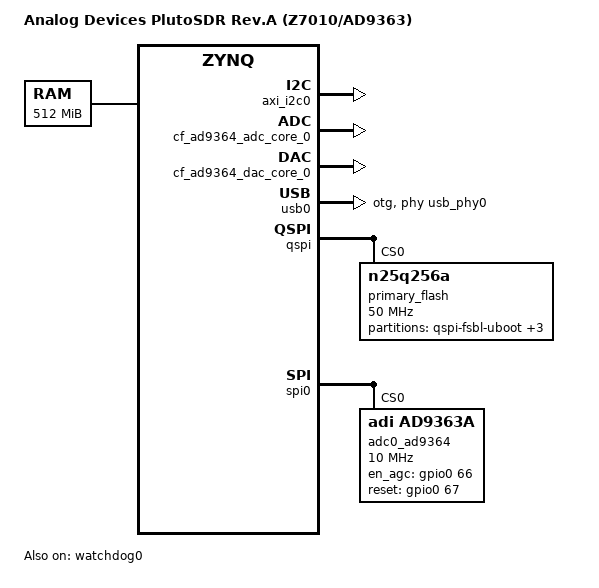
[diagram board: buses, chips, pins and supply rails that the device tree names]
/*
 * ZYNQ Pluto SDR (Z7010/AD9363)
 *
 * Copyright (C) 2016 Analog Devices Inc.
 *
 * Licensed under the GPL-2.
 */
#include "zynq.dtsi"

#include <dt-bindings/interrupt-controller/irq.h>

/ {
	model = "Analog Devices PlutoSDR Rev.A (Z7010/AD9363)";
	memory {
		device_type = "memory";
		reg = <0x00000000 0x20000000>;
	};

	chosen {
		stdout-path = "/amba@0/uart@E0001000";
	};

	clocks {
		ad9364_clkin: clock@0 {
			#clock-cells = <0>;
			compatible = "adjustable-clock";
			clock-frequency = <40000000>;
			clock-accuracy = <200000>; /* 200 ppm (ppb) */
			clock-output-names = "ad9364_ext_refclk";
		};
	};

	usb_phy0: phy0 {
		compatible = "ulpi-phy";
		#phy-cells = <0>;
		reg = <0xe0002000 0x1000>;
		view-port = <0x0170>;
		drv-vbus;
	};

};

&sdhci0 {
	status = "disabled";
};

&watchdog0 {
	status = "okay";
	reset-on-timeout;
};

&usb0 {
	xlnx,phy-reset-gpio = <&gpio0 52 0>;
	dr_mode = "otg";
	status = "okay";
	usb-phy = <&usb_phy0>;
};

&qspi {
	status = "okay";
	is-dual = <0>;
	num-cs = <1>;
	primary_flash: ps7-qspi@0 {
		#address-cells = <1>;
		#size-cells = <1>;
		spi-tx-bus-width = <1>;
		spi-rx-bus-width = <4>;
		compatible = "n25q256a", "n25q512a", "jedec,spi-nor"; /* same as S25FL256 */
		reg = <0x0>;
		spi-max-frequency = <50000000>;
		partition@qspi-fsbl-uboot {
			label = "qspi-fsbl-uboot";
			reg = <0x0 0x100000>; /* 1M */
		};
		partition@qspi-uboot-env {
			label = "qspi-uboot-env";
			reg = <0x100000 0x20000>; /* 128k */
		};
		partition@qspi-nvmfs {
			label = "qspi-nvmfs";
			reg = <0x120000 0xE0000>; /* 1M */
		};
		partition@qspi-linux {
			label = "qspi-linux";
			reg = <0x200000 0x1E00000>; /* 30M */
		};
	};
};

&adc {
	xlnx,channels {
		#address-cells = <1>;
		#size-cells = <0>;
		channel@0 {
			reg = <0>;
		};
	};
};

/ {
	fpga_axi: fpga-axi@0 {
		compatible = "simple-bus";
		#address-cells = <0x1>;
		#size-cells = <0x1>;
		ranges;

		axi_i2c0: i2c@41600000 {
			compatible = "xlnx,axi-iic-1.02.a", "xlnx,xps-iic-2.00.a";
			reg = <0x41600000 0x10000>;
			interrupt-parent = <&intc>;
			interrupts = <0 59 IRQ_TYPE_LEVEL_HIGH>;
			clocks = <&clkc 15>;
			clock-names = "pclk";

			#address-cells = <1>;
			#size-cells = <0>;

		};

		rx_dma: dma@7c400000 {
			compatible = "adi,axi-dmac-1.00.a";
			reg = <0x7c400000 0x10000>;
			#dma-cells = <1>;
			interrupts = <0 57 IRQ_TYPE_LEVEL_HIGH>;
			clocks = <&clkc 16>;

			adi,channels {
				#size-cells = <0>;
				#address-cells = <1>;

				dma-channel@0 {
					reg = <0>;
					adi,source-bus-width = <32>;
					adi,source-bus-type = <2>;
					adi,destination-bus-width = <64>;
					adi,destination-bus-type = <0>;
				};
			};
		};

		tx_dma: dma@7c420000 {
			compatible = "adi,axi-dmac-1.00.a";
			reg = <0x7c420000 0x10000>;
			#dma-cells = <1>;
			interrupts = <0 56 IRQ_TYPE_LEVEL_HIGH>;
			clocks = <&clkc 16>;

			adi,channels {
				#size-cells = <0>;
				#address-cells = <1>;

				dma-channel@0 {
					reg = <0>;
					adi,source-bus-width = <64>;
					adi,source-bus-type = <0>;
					adi,destination-bus-width = <32>;
					adi,destination-bus-type = <2>;
				};
			};
		};

		cf_ad9364_adc_core_0: cf-ad9361-lpc@79020000 {
			compatible = "adi,axi-ad9361-6.00.a";
			reg = <0x79020000 0x6000>;
			dmas = <&rx_dma 0>;
			dma-names = "rx";
			spibus-connected = <&adc0_ad9364>;
			adi,axi-decimation-core-available;
		};

		cf_ad9364_dac_core_0: cf-ad9361-dds-core-lpc@79024000 {
			compatible = "adi,axi-ad9364-dds-6.00.a";
			reg = <0x79024000 0x1000>;
			clocks = <&adc0_ad9364 13>;
			clock-names = "sampl_clk";
			dmas = <&tx_dma 0>;
			dma-names = "tx";
			adi,axi-interpolation-core-available;
			adi,axi-dds-default-scale = <0>;
		};

		mwipcore@43c00000 {
			compatible = "mathworks,mwipcore-axi4lite-v1.00";
			reg = <0x43c00000 0xffff>;
		};
	};
};

&spi0 {
	status = "okay";

	adc0_ad9364: ad9361-phy@0 {
		#address-cells = <1>;
		#size-cells = <0>;
		#clock-cells = <1>;
		compatible = "adi,ad9363a";

		/* SPI Setup */
		reg = <0>;
		spi-cpha;
		spi-max-frequency = <10000000>;

		/* Clocks */
		clocks = <&ad9364_clkin 0>;
		clock-names = "ad9364_ext_refclk";
		clock-output-names = "rx_sampl_clk", "tx_sampl_clk";

		/* Digital Interface Control */

		 /* adi,digital-interface-tune-skip-mode:
		  * 0 = TUNE RX&TX
		  * 1 = SKIP TX
		  * 2 = SKIP ALL
		  */
		//adi,digital-interface-tune-skip-mode = <0>;

		adi,pp-tx-swap-enable;
		adi,pp-rx-swap-enable;
		adi,rx-frame-pulse-mode-enable;

		adi,xo-disable-use-ext-refclk-enable;

		/* Enable CMOS Mode */
		adi,full-port-enable;
		adi,digital-interface-tune-fir-disable;

		adi,digital-interface-tune-skip-mode = <0>; /* TUNE RX & TX */
		adi,tx-fb-clock-delay = <0>;
		adi,tx-data-delay = <9>;
		adi,swap-ports-enable;

		/* Mode Setup */

		//adi,split-gain-table-mode-enable;

		/* ENSM Mode */
		adi,frequency-division-duplex-mode-enable;
		//adi,ensm-enable-pin-pulse-mode-enable;
		//adi,ensm-enable-txnrx-control-enable;


		/* adi,rx-rf-port-input-select:
		 * 0 = (RX1A_N &  RX1A_P) and (RX2A_N & RX2A_P) enabled; balanced
		 * 1 = (RX1B_N &  RX1B_P) and (RX2B_N & RX2B_P) enabled; balanced
		 * 2 = (RX1C_N &  RX1C_P) and (RX2C_N & RX2C_P) enabled; balanced
		 *
		 * 3 = RX1A_N and RX2A_N enabled; unbalanced
		 * 4 = RX1A_P and RX2A_P enabled; unbalanced
		 * 5 = RX1B_N and RX2B_N enabled; unbalanced
		 * 6 = RX1B_P and RX2B_P enabled; unbalanced
		 * 7 = RX1C_N and RX2C_N enabled; unbalanced
		 * 8 = RX1C_P and RX2C_P enabled; unbalanced
		 */

		adi,rx-rf-port-input-select = <0>; /* (RX1A_N &  RX1A_P) and (RX2A_N & RX2A_P) enabled; balanced */
		adi,rx-rf-port-input-select-lock-enable;

		/* adi,tx-rf-port-input-select:
		 * 0	TX1A, TX2A
		 * 1	TX1B, TX2B
		 */

		adi,tx-rf-port-input-select = <0>; /* TX1A, TX2A */
		adi,tx-rf-port-input-select-lock-enable;

		//adi,update-tx-gain-in-alert-enable;
		adi,tx-attenuation-mdB = <10000>;
		adi,tx-lo-powerdown-managed-enable;

		adi,rf-rx-bandwidth-hz = <18000000>;
		adi,rf-tx-bandwidth-hz = <18000000>;
		adi,rx-synthesizer-frequency-hz = /bits/ 64 <2400000000>;
		adi,tx-synthesizer-frequency-hz = /bits/ 64 <2450000000>;

		/*				BBPLL     ADC        R2CLK     R1CLK    CLKRF    RSAMPL  */
		adi,rx-path-clock-frequencies = <983040000 245760000 122880000 61440000 30720000 30720000>;
		/*				BBPLL     DAC        T2CLK     T1CLK    CLKTF    TSAMPL  */
		adi,tx-path-clock-frequencies = <983040000 122880000 122880000 61440000 30720000 30720000>;

		/* Gain Control */

		/* adi,gc-rx[1|2]-mode:
		 * 0 = RF_GAIN_MGC
		 * 1 = RF_GAIN_FASTATTACK_AGC
		 * 2 = RF_GAIN_SLOWATTACK_AGC
		 * 3 = RF_GAIN_HYBRID_AGC
		 */

		adi,gc-rx1-mode = <2>;
		adi,gc-rx2-mode = <2>;
		adi,gc-adc-ovr-sample-size = <4>; /* sum 4 samples */
		adi,gc-adc-small-overload-thresh = <47>; /* sum of squares */
		adi,gc-adc-large-overload-thresh = <58>; /* sum of squares */
		adi,gc-lmt-overload-high-thresh = <800>; /* mV */
		adi,gc-lmt-overload-low-thresh = <704>; /* mV */
		adi,gc-dec-pow-measurement-duration = <8192>; /* 0..524288 Samples */
		adi,gc-low-power-thresh = <24>; /* 0..-64 dBFS vals are set pos */
		//adi,gc-dig-gain-enable;
		//adi,gc-max-dig-gain = <15>;

		/* Manual Gain Control Setup */

		//adi,mgc-rx1-ctrl-inp-enable; /* uncomment to use ctrl inputs */
		//adi,mgc-rx2-ctrl-inp-enable; /* uncomment to use ctrl inputs */
		adi,mgc-inc-gain-step = <2>;
		adi,mgc-dec-gain-step = <2>;

		/* adi,mgc-split-table-ctrl-inp-gain-mode:
		 * (relevant if adi,split-gain-table-mode-enable is set)
		 * 0 = AGC determine this
		 * 1 = only in LPF
		 * 2 = only in LMT
		 */

		adi,mgc-split-table-ctrl-inp-gain-mode = <0>;

		/* Automatic Gain Control Setup */

		adi,agc-attack-delay-extra-margin-us= <1>; /* us */
		adi,agc-outer-thresh-high = <5>; /* -dBFS */
		adi,agc-outer-thresh-high-dec-steps = <2>; /* 0..15 */
		adi,agc-inner-thresh-high = <10>; /* -dBFS */
		adi,agc-inner-thresh-high-dec-steps = <1>; /* 0..7 */
		adi,agc-inner-thresh-low = <12>; /* -dBFS */
		adi,agc-inner-thresh-low-inc-steps = <1>; /* 0..7 */
		adi,agc-outer-thresh-low = <18>; /* -dBFS */
		adi,agc-outer-thresh-low-inc-steps = <2>; /* 0..15 */

		adi,agc-adc-small-overload-exceed-counter = <10>; /* 0..15 */
		adi,agc-adc-large-overload-exceed-counter = <10>; /* 0..15 */
		adi,agc-adc-large-overload-inc-steps = <2>; /* 0..15 */
		//adi,agc-adc-lmt-small-overload-prevent-gain-inc-enable;
		adi,agc-lmt-overload-large-exceed-counter = <10>; /* 0..15 */
		adi,agc-lmt-overload-small-exceed-counter = <10>; /* 0..15 */
		adi,agc-lmt-overload-large-inc-steps = <2>; /* 0..7 */
		//adi,agc-dig-saturation-exceed-counter = <3>; /* 0..15 */
		//adi,agc-dig-gain-step-size = <4>; /* 1..8 */

		//adi,agc-sync-for-gain-counter-enable;
		adi,agc-gain-update-interval-us = <1000>;  /* 1ms */
		//adi,agc-immed-gain-change-if-large-adc-overload-enable;
		//adi,agc-immed-gain-change-if-large-lmt-overload-enable;

		/* Fast AGC */

		adi,fagc-dec-pow-measurement-duration = <64>; /* 64 Samples */
                //adi,fagc-allow-agc-gain-increase-enable;
                adi,fagc-lp-thresh-increment-steps = <1>;
                adi,fagc-lp-thresh-increment-time = <5>;

                adi,fagc-energy-lost-stronger-sig-gain-lock-exit-cnt = <8>;
                adi,fagc-final-overrange-count = <3>;
                //adi,fagc-gain-increase-after-gain-lock-enable;
                adi,fagc-gain-index-type-after-exit-rx-mode = <0>;
                adi,fagc-lmt-final-settling-steps = <1>;
                adi,fagc-lock-level = <10>;
                adi,fagc-lock-level-gain-increase-upper-limit = <5>;
                adi,fagc-lock-level-lmt-gain-increase-enable;

                adi,fagc-lpf-final-settling-steps = <1>;
                adi,fagc-optimized-gain-offset = <5>;
                adi,fagc-power-measurement-duration-in-state5 = <64>;
                adi,fagc-rst-gla-engergy-lost-goto-optim-gain-enable;
                adi,fagc-rst-gla-engergy-lost-sig-thresh-below-ll = <10>;
                adi,fagc-rst-gla-engergy-lost-sig-thresh-exceeded-enable;
                adi,fagc-rst-gla-if-en-agc-pulled-high-mode = <0>;
                adi,fagc-rst-gla-large-adc-overload-enable;
                adi,fagc-rst-gla-large-lmt-overload-enable;
                adi,fagc-rst-gla-stronger-sig-thresh-above-ll = <10>;
                adi,fagc-rst-gla-stronger-sig-thresh-exceeded-enable;
                adi,fagc-state-wait-time-ns = <260>;
                adi,fagc-use-last-lock-level-for-set-gain-enable;

		/* RSSI */

		/* adi,rssi-restart-mode:
		 * 0 = AGC_IN_FAST_ATTACK_MODE_LOCKS_THE_GAIN,
		 * 1 = EN_AGC_PIN_IS_PULLED_HIGH,
		 * 2 = ENTERS_RX_MODE,
		 * 3 = GAIN_CHANGE_OCCURS,
		 * 4 = SPI_WRITE_TO_REGISTER,
		 * 5 = GAIN_CHANGE_OCCURS_OR_EN_AGC_PIN_PULLED_HIGH,
		 */
		adi,rssi-restart-mode = <3>;
		//adi,rssi-unit-is-rx-samples-enable;
		adi,rssi-delay = <1>; /* 1us */
		adi,rssi-wait = <1>; /* 1us */
		adi,rssi-duration = <1000>; /* 1ms */

		/* Control Outputs */
		adi,ctrl-outs-index = <0>;
		adi,ctrl-outs-enable-mask = <0xFF>;

		/* AuxADC Temp Sense Control */

		adi,temp-sense-measurement-interval-ms = <1000>;
		adi,temp-sense-offset-signed = <0xCE>;
		adi,temp-sense-periodic-measurement-enable;

		/* AuxDAC Control */

		adi,aux-dac-manual-mode-enable;

		adi,aux-dac1-default-value-mV = <0>;
		//adi,aux-dac1-active-in-rx-enable;
		//adi,aux-dac1-active-in-tx-enable;
		//adi,aux-dac1-active-in-alert-enable;
		adi,aux-dac1-rx-delay-us = <0>;
		adi,aux-dac1-tx-delay-us = <0>;

		adi,aux-dac2-default-value-mV = <0>;
		//adi,aux-dac2-active-in-rx-enable;
		//adi,aux-dac2-active-in-tx-enable;
		//adi,aux-dac2-active-in-alert-enable;
		adi,aux-dac2-rx-delay-us = <0>;
		adi,aux-dac2-tx-delay-us = <0>;

		/* Control GPIOs */

		en_agc-gpios = <&gpio0 66 0>;
		reset-gpios = <&gpio0 67 0>;

	};
};
